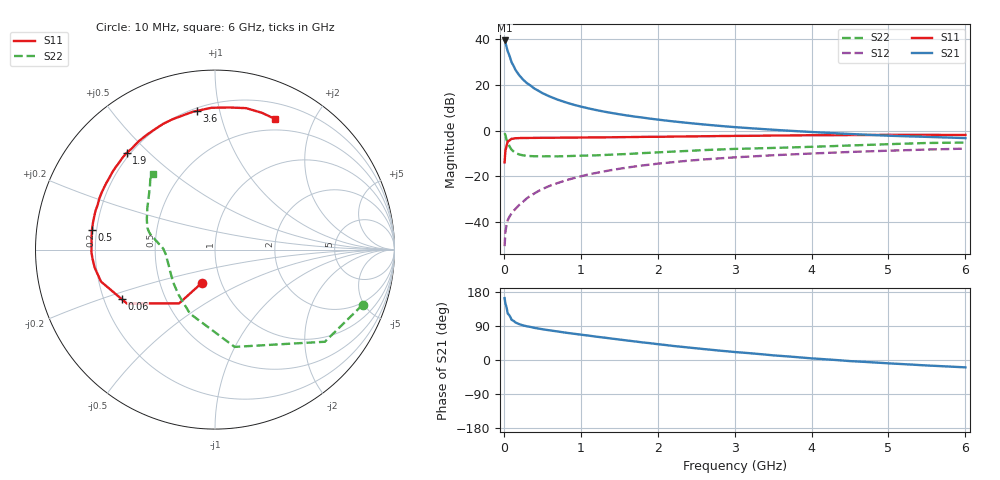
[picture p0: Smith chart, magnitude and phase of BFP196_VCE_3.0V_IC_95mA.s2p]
! Infineon Technologies  Discrete & RF Semiconductors
! BFP196
! VCE =  3.0 V,  IC =  95 mA
! Common Emitter S-Parameters:  Jan 2017
# GHz  S  MA  R  50
!  f  S11  S21  S12  S22
! GHz  MAG  ANG  MAG  ANG  MAG  ANG  MAG  ANG
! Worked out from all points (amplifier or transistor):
!   77 points, 10 MHz to 6 GHz, reference 50 ohm
!   highest |S21| = 39.6 dB at 10 MHz (marker M1)
!   |S21| within 3 dB of that: start of sweep to 36.5 MHz
!   unconditionally stable (mu >= 1): 365.6 MHz to 2.501 GHz
!   at 130 MHz: K = 0.78, MSG = 31.6 dB, |S12| = -35.1 dB
!   at 2.2 GHz: K = 1.01, MAG = 8.3 dB, |S12| = -13.9 dB
!   at 6 GHz: K = 0.97, MSG = 2.3 dB, |S12| = -7.9 dB
!   S11 on the Smith chart (normalised r, x): 10 MHz: 0.81, -0.31; 60 MHz: 0.27, -0.23; 500 MHz: 0.18, +0.08; 1.9 GHz: 0.19, +0.43; 3.6 GHz: 0.22, +0.85; 6 GHz: 0.37, +1.49
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0.01  0.2003 -111.7  95.06 163.3  0.0029 74.2  0.8781 -20.5
0.02  0.36 -123.7  85.97 149.0  0.0059 67.6  0.7989 -40.0
0.05  0.5752 -148.5  55.24 122.8  0.0107 54.8  0.553 -78.6
0.06  0.5882 -152.0  50.28 120.7  0.0116 56.1  0.5085 -83.3
0.1  0.6596 -164.3  31.57 106.2  0.0152 59.8  0.3829 -111.4
0.15  0.6778 -171.4  21.62 99.2  0.019 61.6  0.323 -129.0
0.2  0.6843 -175.7  16.38 94.6  0.0233 66.9  0.2987 -140.1
0.25  0.6888 -178.9  13.14 91.3  0.0274 67.7  0.2858 -147.3
0.3  0.6881 178.7  11 88.9  0.0327 69.0  0.2788 -153.2
0.4  0.691 174.6  8.303 84.7  0.042 70.6  0.2729 -160.2
0.5  0.6942 171.1  6.646 81.2  0.052 70.5  0.2718 -165.1
0.7  0.6973 165.0  4.771 75.3  0.0705 70.7  0.2717 -171.8
0.9  0.6994 159.2  3.719 69.6  0.0896 68.2  0.2775 -175.7
1.1  0.7066 153.7  3.069 64.4  0.1088 65.8  0.2836 -178.9
1.5  0.7165 143.0  2.279 54.1  0.1449 60.4  0.3014 176.0
1.9  0.7295 132.5  1.831 44.4  0.1788 54.4  0.3253 172.2
2.1  0.7332 127.4  1.665 39.6  0.1948 51.4  0.3387 170.4
3.1  0.765 106.4  1.159 19.5  0.2634 37.0  0.3994 160.8
3.6  0.7793 97.5  1.018 10.8  0.2921 30.7  0.4202 154.5
4.1  0.7905 89.9  0.911 3.0  0.3187 24.5  0.4457 147.5
5.1  0.8058 76.3  0.762 -9.9  0.3658 12.6  0.5086 135.4
6  0.8012 65.4  0.684 -19.4  0.4016 2.6  0.5458 129.1
